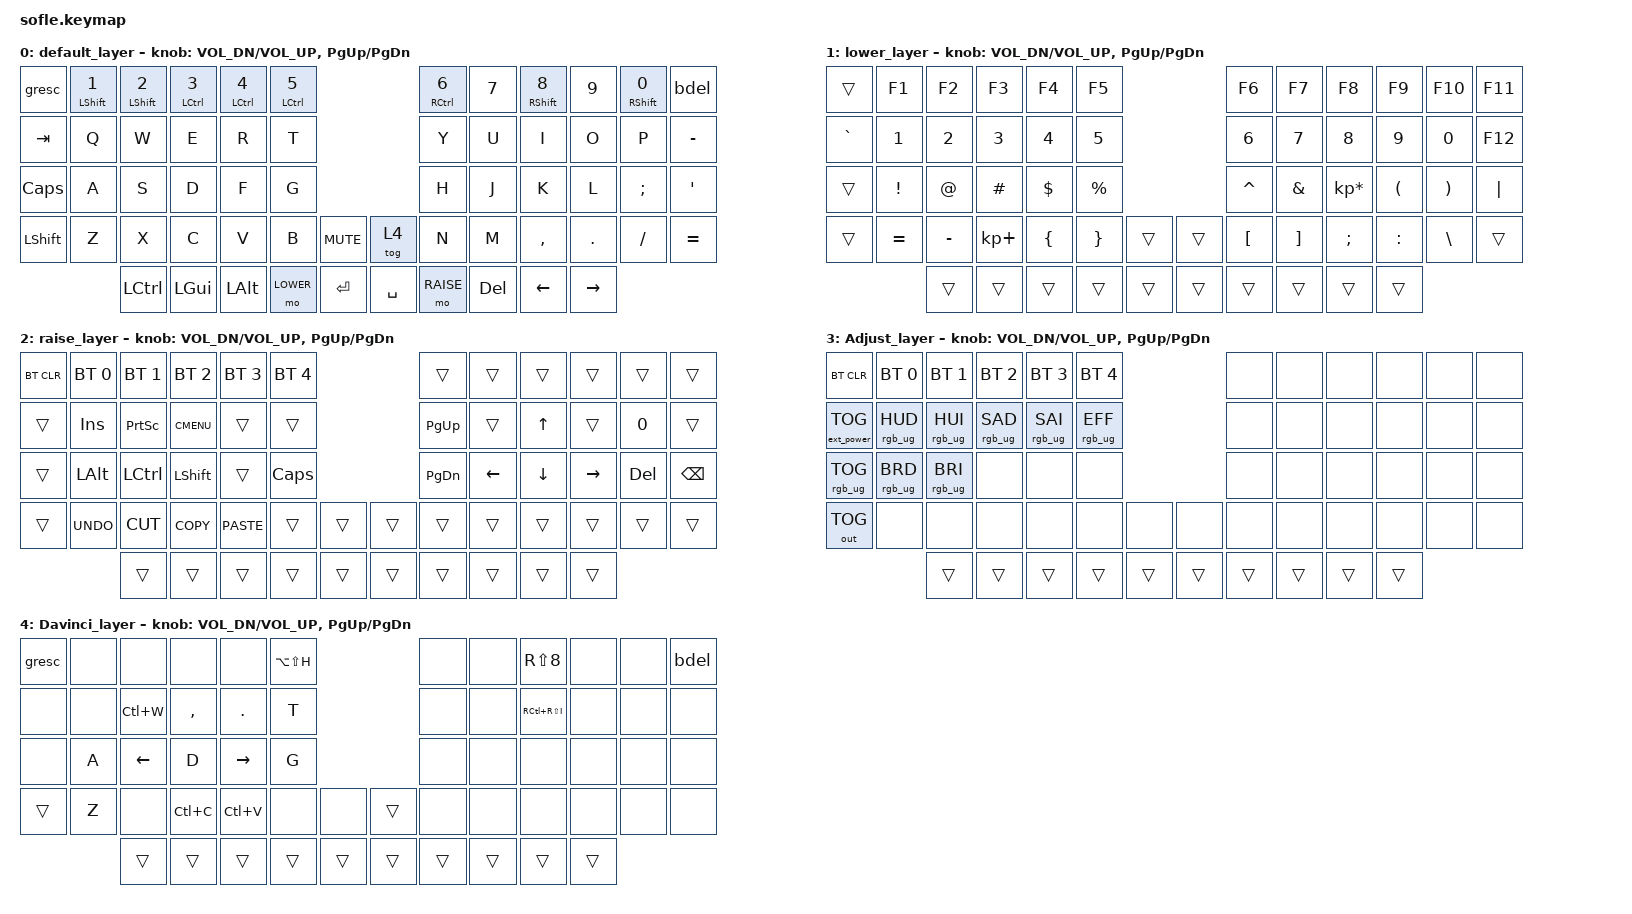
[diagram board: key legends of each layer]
/*
 * Copyright (c) 2020 The ZMK Contributors
 *
 * SPDX-License-Identifier: MIT
 */

#include <behaviors.dtsi>
#include <dt-bindings/zmk/keys.h>
#include <dt-bindings/zmk/bt.h>
#include <dt-bindings/zmk/rgb.h>
#include <dt-bindings/zmk/ext_power.h>
#include <dt-bindings/zmk/outputs.h>

&left_encoder { resolution = <1>; };
&right_encoder { resolution = <1>; };

#define BASE 0
#define LOWER 1
#define RAISE 2
#define ADJUST 3
#define DAVINCI 4

&mt {
    tapping-term-ms = <600>;
};

/ {

   // Activate ADJUST layer by pressing raise and lower
    conditional_layers {
        compatible = "zmk,conditional-layers";
        adjust_layer {
            if-layers = <LOWER RAISE>;
            then-layer = <ADJUST>;
        };
    };

    keymap {
        compatible = "zmk,keymap";

        default_layer {
// ------------------------------------------------------------------------------------------------------------
// |  `    |  1  |  2  |  3   |  4   |  5   |                   |  6   |  7    |  8    |  9   |   0   |       |
// |  ESC  |  Q  |  W  |  E   |  R   |  T   |                   |  Y   |  U    |  I    |  O   |   P   | BKSPC |
// |  TAB  |  A  |  S  |  D   |  F   |  G   |                   |  H   |  J    |  K    |  L   |   ;   |   '   |
// | SHIFT |  Z  |  X  |  C   |  V   |  B   |  MUTE  |  |       |  N   |  M    |  ,    |  .   |   /   | SHIFT |
//               | GUI | ALT  | CTRL | LOWER|  ENTER |  | SPACE | RAISE| CTRL  | ALT   | GUI  |
            bindings = <
&gresc    &mt LSHIFT N1 &mt LSHIFT N2 &mt LCTRL N3   &mt LCTRL N4  &mt LCTRL N5                   &mt RCTRL N6 &kp N7  &mt RSHIFT N8 &kp N9   &mt RSHIFT N0 &bdel
&kp TAB   &kp Q         &kp W         &kp E          &kp R         &kp T                          &kp Y        &kp U   &kp I         &kp O    &kp P         &kp MINUS
&kp CLCK  &kp A         &kp S         &kp D          &kp F         &kp G                          &kp H        &kp J   &kp K         &kp L    &kp SEMI      &kp SQT
&kp LSHFT &kp Z         &kp X         &kp C          &kp V         &kp B   &kp C_MUTE &tog 4      &kp N        &kp M   &kp COMMA     &kp DOT  &kp FSLH      &kp EQUAL
                        &kp LCTRL     &kp LGUI       &kp LALT      &mo LOWER &kp RET  &kp SPACE   &mo RAISE    &kp DEL &kp LEFT      &kp RIGHT
            >;

            sensor-bindings = <&inc_dec_kp C_VOL_DN C_VOL_UP &inc_dec_kp PG_UP PG_DN>;
        };

        lower_layer {
// TODO: Some binds are waiting for shifted keycode support.
// ------------------------------------------------------------------------------------------------------------
// |       |  F1 |  F2 |  F3  |  F4  |  F5  |                   |  F6  |  F7   |  F8   |  F9  |  F10  |  F11  |
// | `     |   1 |   2 |   3  |   4  |   5  |                   |   6  |   7   |   8   |   9  |    0  |  F12  |
// |       |  !  |  @  |  #   |  $   |  %   |                   |  ^   |  &    |  *    |  (   |   )   |   |   |
// |       |  =  |  -  |  +   |  {   |  }   |        |  |       |  [   |  ]    |  ;    |  :   |   \   |       |
//               |     |      |      |      |        |  |       |      |       |       |      |
            bindings = <
&trans    &kp F1    &kp F2    &kp F3      &kp F4    &kp F5                    &kp F6    &kp F7   &kp F8          &kp F9    &kp F10   &kp F11
&kp GRAVE &kp N1    &kp N2    &kp N3      &kp N4    &kp N5                    &kp N6    &kp N7   &kp N8          &kp N9    &kp N0    &kp F12
&trans    &kp EXCL  &kp AT    &kp HASH    &kp DLLR  &kp PRCNT                 &kp CARET &kp AMPS &kp KP_MULTIPLY &kp LPAR  &kp RPAR  &kp PIPE
&trans    &kp EQUAL &kp MINUS &kp KP_PLUS &kp LBRC  &kp RBRC  &trans   &trans &kp LBKT  &kp RBKT &kp SEMI        &kp COLON &kp BSLH  &trans
                    &trans    &trans      &trans    &trans    &trans   &trans &trans    &trans   &trans          &trans
            >;

            sensor-bindings = <&inc_dec_kp C_VOL_DN C_VOL_UP &inc_dec_kp PG_UP PG_DN>;
        };

        raise_layer {
// ------------------------------------------------------------------------------------------------------------
// |BTCLR| BT1  | BT2  |  BT3  |  BT4  |  BT5 |                |      |      |       |      |       |       |
// |     | INS  | PSCR | GUI   |       |      |                | PGUP |      |   ^   |      |       |       |
// |     | ALT  | CTRL | SHIFT |       | CAPS |                | PGDN |   <- |   v   |  ->  |  DEL  | BKSPC |
// |     | UNDO | CUT  | COPY  | PASTE |      |      |  |      |      |      |       |      |       |       |
//              |      |       |       |      |      |  |      |      |      |       |      |
            bindings = <
&bt BT_CLR &bt BT_SEL 0 &bt BT_SEL 1 &bt BT_SEL 2 &bt BT_SEL 3 &bt BT_SEL 4             &trans    &trans    &trans   &trans    &trans  &trans
&trans     &kp INS      &kp PSCRN    &kp K_CMENU  &trans       &trans                   &kp PG_UP &trans    &kp UP   &trans    &kp N0  &trans
&trans     &kp LALT     &kp LCTRL    &kp LSHFT    &trans       &kp CLCK                 &kp PG_DN &kp LEFT  &kp DOWN &kp RIGHT &kp DEL &kp BSPC
&trans     &kp K_UNDO   &kp K_CUT    &kp K_COPY   &kp K_PASTE  &trans  &trans   &trans  &trans    &trans    &trans   &trans    &trans  &trans
                        &trans       &trans       &trans       &trans  &trans   &trans  &trans    &trans    &trans   &trans
            >;

            sensor-bindings = <&inc_dec_kp C_VOL_DN C_VOL_UP &inc_dec_kp PG_UP PG_DN>;
        };
        
        Adjust_layer {
// ------------------------------------------------------------------------------------------------------------
// |BTCLR | BT1   | BT2   |  BT3  |  BT4  |  BT5  |                |      |      |       |      |       |       |
// |EXTPWR|RGB_HUD|RGB_HUI|RGB_SAD|RGB_SAI|RGB_EFF|                |      |      |       |      |       |       |
// |RBGTOG|RGB_BRD|RGB_BRI|       |       |       |                |      |      |       |      |       |       |
// |OUTTOG|       |       |       |       |       |RGB_TOG| |      |      |      |       |      |       |       |
//                |       |       |       |       |       | |      |      |      |       |      |       |       |
        bindings = <
&bt BT_CLR          &bt BT_SEL 0    &bt BT_SEL 1    &bt BT_SEL 2    &bt BT_SEL 3    &bt BT_SEL 4                          &none &none &none &none &none &none
&ext_power EP_TOG   &rgb_ug RGB_HUD &rgb_ug RGB_HUI &rgb_ug RGB_SAD &rgb_ug RGB_SAI &rgb_ug RGB_EFF                       &none &none &none &none &none &none
&rgb_ug RGB_TOG     &rgb_ug RGB_BRD &rgb_ug RGB_BRI &none           &none           &none                                 &none &none &none &none &none &none
&out OUT_TOG        &none           &none           &none           &none           &none             &none    &none      &none &none &none &none &none &none
                                    &trans          &trans          &trans          &trans            &trans   &trans     &trans    &trans    &trans   &trans
        >;
            sensor-bindings = <&inc_dec_kp C_VOL_DN C_VOL_UP &inc_dec_kp PG_UP PG_DN>;       
        };
        
          Davinci_layer {
// ------------------------------------------------------------------------------------------------------------
// |  ESC |       |       |       |       | HILIGHT|                |      |      |RENDER |      |       |       |
// |      |       |  REF  |   <   |   >   | TRIM   |                |      |      |IMPORT |      |       |       |
// |      |   A   | LEFT  |  D    | RIGHT | FLAG   |                |      |      |       |      |       |       |
// |      |   Z   |       | COPPY | PASTE |        |       | |      |      |      |       |      |       |       |
//                |       |       |       |        |       | |      |      |      |       |      |       |       |
        bindings = <
&gresc        &none      &none       &none      &none       &kp LA(LS(H))                      &none  &none  &kp RS(N8)    &none  &none &bdel
&none         &none      &kp LC(W)   &kp COMMA  &kp DOT     &kp T                              &none  &none  &kp RC(RS(I)) &none  &none &none
&none         &kp A      &kp LEFT    &kp D      &kp RIGHT   &kp G                             &none  &none  &none         &none  &none &none
&trans        &kp Z      &none       &kp LC(C)  &kp LC(V)   &none         &none     &trans     &none  &none  &none         &none  &none &none
                         &trans      &trans     &trans      &trans        &trans    &trans     &trans &trans &trans        &trans
        >;
            sensor-bindings = <&inc_dec_kp C_VOL_DN C_VOL_UP &inc_dec_kp PG_UP PG_DN>;       
        };
    };
};
